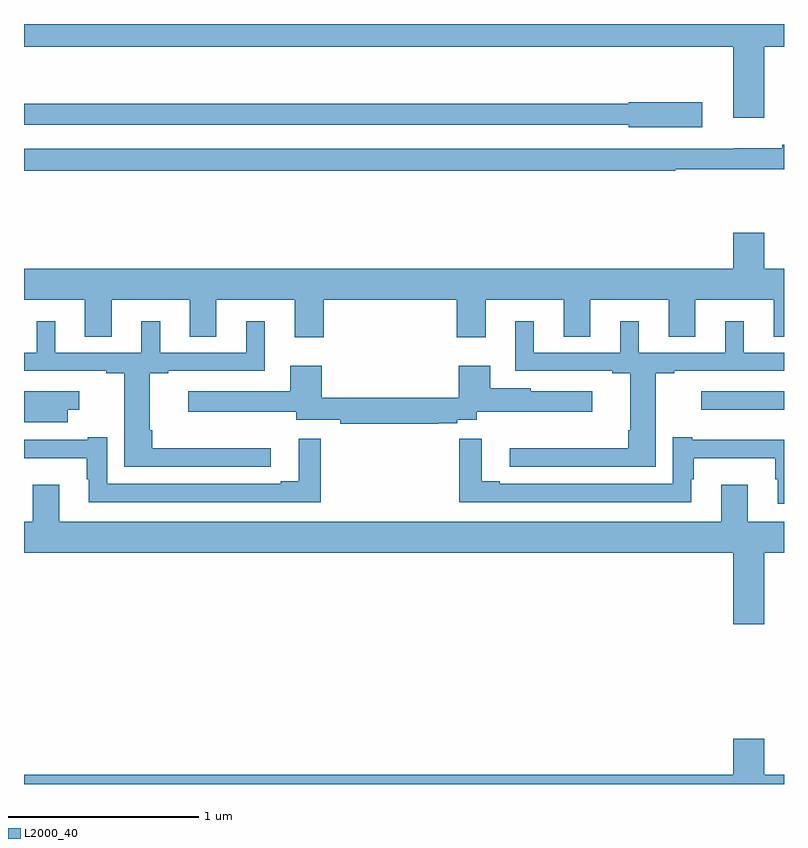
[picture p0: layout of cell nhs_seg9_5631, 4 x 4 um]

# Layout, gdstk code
import gdstk
lib = gdstk.Library(unit=1e-6, precision=1e-09)
def R(c, l, rs):  # rectangles x0, y0, x1, y1
    for r in rs: c.add(gdstk.rectangle(r[:2], r[2:], *l))
def P(c, l, *ps):  # polygons
    for p in ps: c.add(gdstk.Polygon(p, *l))
L2000_40 = (2000, 40)

nhs_seg9_5631 = lib.new_cell('nhs_seg9_5631')
R(nhs_seg9_5631, L2000_40, [(440.565,1234.469,441,1234.566)])
P(nhs_seg9_5631, L2000_40, [(437,1236.38),(440.732,1236.38),(440.732,1236.006),(440.896,1236.006),(440.896,1236.38),(441,1236.38),(441,1236.5),(437,1236.5)],
  [(440.569,1236.087),(440.184,1236.087),(440.184,1236.079),(437,1236.079),(437,1235.97),(440.184,1235.97),(440.184,1235.957),(440.569,1235.957)],
  [(440.428,1235.736),(441,1235.736),(441,1235.864),(440.992,1235.864),(440.992,1235.845),(440.736,1235.845),(440.736,1235.844),(437,1235.844),(437,1235.728),(440.428,1235.728)],
  [(438.578,1235.048),(439.277,1235.048),(439.277,1234.851),(439.429,1234.851),(439.429,1235.048),(439.841,1235.048),(439.841,1234.855),(439.981,1234.855),(439.981,1235.048),(440.393,1235.048),(440.393,1234.855),(440.533,1234.855),(440.533,1235.048),(440.945,1235.048),(440.945,1234.855),(441,1234.855),(441,1235.212),(440.896,1235.212),(440.896,1235.401),(440.732,1235.401),(440.732,1235.212),(437,1235.212),(437,1235.048),(437.321,1235.048),(437.321,1234.855),(437.461,1234.855),(437.461,1235.048),(437.873,1235.048),(437.873,1234.855),(438.013,1234.855),(438.013,1235.048),(438.425,1235.048),(438.425,1234.851),(438.578,1234.851)],
  [(440.326,1234.662),(440.422,1234.662),(440.422,1234.674),(441,1234.674),(441,1234.77),(440.788,1234.77),(440.788,1234.936),(440.69,1234.936),(440.69,1234.77),(440.236,1234.77),(440.236,1234.936),(440.138,1234.936),(440.138,1234.77),(439.684,1234.77),(439.684,1234.936),(439.586,1234.936),(439.586,1234.674),(440.096,1234.674),(440.096,1234.662),(440.192,1234.662),(440.192,1234.363),(440.18,1234.363),(440.18,1234.268),(439.557,1234.268),(439.557,1234.17),(440.326,1234.17)],
  [(438.298,1234.268),(437.675,1234.268),(437.675,1234.363),(437.662,1234.363),(437.662,1234.662),(437.758,1234.662),(437.758,1234.674),(438.268,1234.674),(438.268,1234.936),(438.17,1234.936),(438.17,1234.77),(437.716,1234.77),(437.716,1234.936),(437.618,1234.936),(437.618,1234.77),(437.164,1234.77),(437.164,1234.936),(437.066,1234.936),(437.066,1234.77),(437,1234.77),(437,1234.674),(437.432,1234.674),(437.432,1234.662),(437.528,1234.662),(437.528,1234.17),(438.298,1234.17)],
  [(439.18,1234.398),(439.28,1234.398),(439.28,1234.416),(439.383,1234.416),(439.383,1234.46),(439.99,1234.46),(439.99,1234.567),(439.668,1234.567),(439.668,1234.582),(439.453,1234.582),(439.453,1234.702),(439.287,1234.702),(439.287,1234.532),(438.568,1234.532),(438.568,1234.702),(438.401,1234.702),(438.401,1234.567),(437.865,1234.567),(437.865,1234.46),(438.434,1234.46),(438.434,1234.416),(438.664,1234.416),(438.664,1234.396),(439.18,1234.396)],
  [(437.23,1234.469),(437.29,1234.469),(437.29,1234.567),(437,1234.567),(437,1234.403),(437.23,1234.403)],
  [(441,1234.312),(440.518,1234.312),(440.518,1234.324),(440.415,1234.324),(440.415,1234.08),(439.504,1234.08),(439.504,1234.093),(439.408,1234.093),(439.408,1234.318),(439.292,1234.318),(439.292,1234.205),(439.291,1234.205),(439.291,1233.984),(440.512,1233.984),(440.512,1234.103),(440.524,1234.103),(440.524,1234.214),(440.955,1234.214),(440.955,1234.103),(440.966,1234.103),(440.966,1233.975),(441,1233.975)],
  [(438.563,1234.318),(438.446,1234.318),(438.446,1234.093),(438.35,1234.093),(438.35,1234.08),(437.439,1234.08),(437.439,1234.324),(437.336,1234.324),(437.336,1234.311),(437,1234.311),(437,1234.214),(437.331,1234.214),(437.331,1234.103),(437.342,1234.103),(437.342,1233.984),(438.563,1233.984)],
  [(440.896,1233.716),(441,1233.716),(441,1233.88),(440.809,1233.88),(440.809,1234.075),(440.669,1234.075),(440.669,1233.88),(437.185,1233.88),(437.185,1234.075),(437.045,1234.075),(437.045,1233.88),(437,1233.88),(437,1233.716),(440.732,1233.716),(440.732,1233.342),(440.896,1233.342)],
  [(441,1232.548),(440.896,1232.548),(440.896,1232.737),(440.732,1232.737),(440.732,1232.548),(437,1232.548),(437,1232.5),(441,1232.5)])

lib.write_gds('nhs_seg9_5631.gds')
